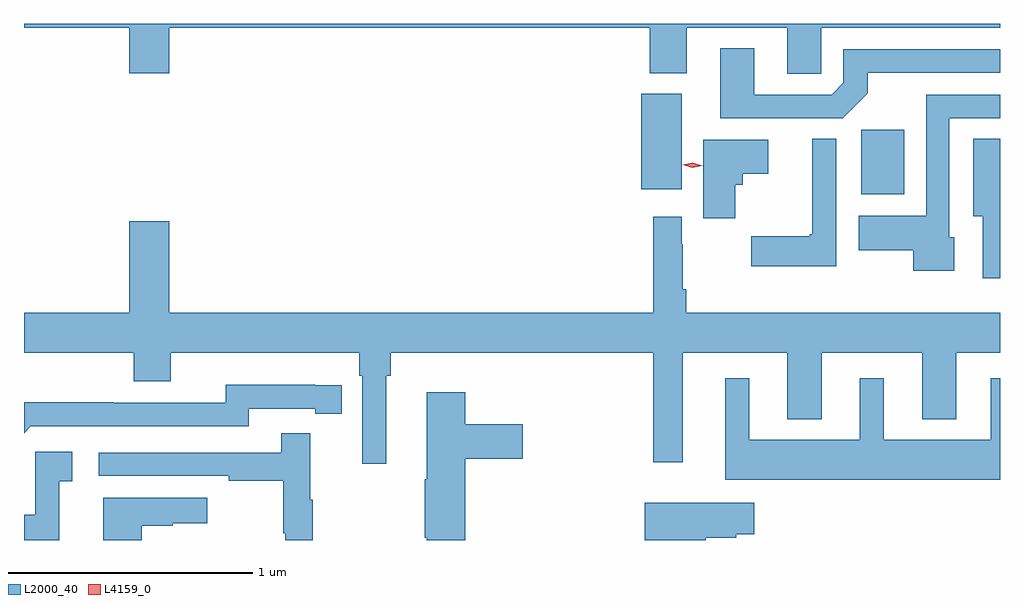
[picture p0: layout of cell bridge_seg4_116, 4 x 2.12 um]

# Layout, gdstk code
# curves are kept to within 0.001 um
import gdstk
lib = gdstk.Library(unit=1e-6, precision=1e-09)
def R(c, l, rs):  # rectangles x0, y0, x1, y1
    for r in rs: c.add(gdstk.rectangle(r[:2], r[2:], *l))
def P(c, l, *ps):  # polygons
    for p in ps: c.add(gdstk.Polygon(p, *l))
L2000_40 = (2000, 40)
L4159_0 = (4159, 0)

bridge_seg4_116 = lib.new_cell('bridge_seg4_116')
R(bridge_seg4_116, L2000_40, [(359.816,832.1,359.992,832.364), (358.913,832.121,359.08,832.512)])
P(bridge_seg4_116, L2000_40, [(356.384,832.784),(356.816,832.784),(356.816,832.596),(356.98,832.596),(356.98,832.784),(358.949,832.784),(358.949,832.597),(359.101,832.597),(359.101,832.784),(359.513,832.784),(359.513,832.594),(359.652,832.594),(359.652,832.784),(360.384,832.784),(360.384,832.799),(356.384,832.799)],
  [(359.841,832.515),(359.841,832.599),(360.384,832.599),(360.384,832.695),(359.742,832.695),(359.742,832.557),(359.694,832.509),(359.377,832.509),(359.377,832.699),(359.237,832.699),(359.237,832.413),(359.739,832.413)],
  [(360.196,831.924),(360.177,831.924),(360.177,832.413),(360.384,832.413),(360.384,832.509),(360.081,832.509),(360.081,832.012),(359.805,832.012),(359.805,831.872),(360.028,831.872),(360.028,831.788),(360.196,831.788)],
  [(359.712,832.328),(359.615,832.328),(359.615,831.936),(359.604,831.936),(359.604,831.928),(359.364,831.928),(359.364,831.806),(359.712,831.806)],
  [(360.384,832.328),(360.275,832.328),(360.275,832.01),(360.314,832.01),(360.314,831.756),(360.384,831.756)],
  [(359.298,832.139),(359.329,832.139),(359.329,832.184),(359.434,832.184),(359.434,832.324),(359.168,832.324),(359.168,832.002),(359.298,832.002)],
  [(357.868,831.356),(357.887,831.356),(357.887,831.452),(358.962,831.452),(358.962,831.003),(359.083,831.003),(359.083,831.452),(359.513,831.452),(359.513,831.179),(359.653,831.179),(359.653,831.452),(360.065,831.452),(360.065,831.179),(360.205,831.179),(360.205,831.452),(360.384,831.452),(360.384,831.616),(359.099,831.616),(359.099,831.712),(359.084,831.712),(359.084,831.896),(359.079,831.896),(359.079,832.009),(358.963,832.009),(358.963,831.616),(356.98,831.616),(356.98,831.991),(356.816,831.991),(356.816,831.616),(356.384,831.616),(356.384,831.452),(356.834,831.452),(356.834,831.335),(356.986,831.335),(356.986,831.452),(357.758,831.452),(357.758,831.356),(357.771,831.356),(357.771,830.997),(357.868,830.997)],
  [(360.384,831.346),(360.347,831.346),(360.347,831.094),(359.908,831.094),(359.908,831.346),(359.81,831.346),(359.81,831.094),(359.356,831.094),(359.356,831.346),(359.258,831.346),(359.258,830.93),(360.384,830.93)],
  [(356.412,831.15),(357.306,831.15),(357.306,831.222),(357.578,831.222),(357.578,831.202),(357.686,831.202),(357.686,831.318),(357.21,831.319),(357.21,831.246),(356.75,831.246),(356.75,831.248),(356.384,831.248),(356.384,831.122)],
  [(358.193,831.017),(358.429,831.017),(358.429,831.159),(358.193,831.159),(358.193,831.289),(358.034,831.289),(358.034,830.933),(358.027,830.933),(358.027,830.692),(358.034,830.692),(358.034,830.683),(358.193,830.683)],
  [(357.568,830.849),(357.557,830.849),(357.557,831.121),(357.439,831.121),(357.439,831.042),(356.691,831.042),(356.691,830.946),(357.223,830.946),(357.223,830.926),(357.447,830.926),(357.447,830.712),(357.454,830.712),(357.454,830.683),(357.568,830.683)],
  [(356.528,830.925),(356.581,830.925),(356.581,831.046),(356.43,831.046),(356.43,830.787),(356.384,830.787),(356.384,830.683),(356.528,830.683)],
  [(356.866,830.743),(356.993,830.743),(356.993,830.753),(357.136,830.753),(357.136,830.857),(356.708,830.857),(356.708,830.683),(356.866,830.683)],
  [(359.178,830.693),(359.304,830.693),(359.304,830.707),(359.377,830.707),(359.377,830.836),(358.928,830.836),(358.928,830.683),(359.178,830.683)])
P(bridge_seg4_116, L4159_0, [(359.123,832.21),(359.083,832.221),(359.083,832.221),(359.083,832.221),(359.124,832.23),(359.164,832.218),(359.165,832.218),(359.164,832.218)])

lib.write_gds('bridge_seg4_116.gds')
